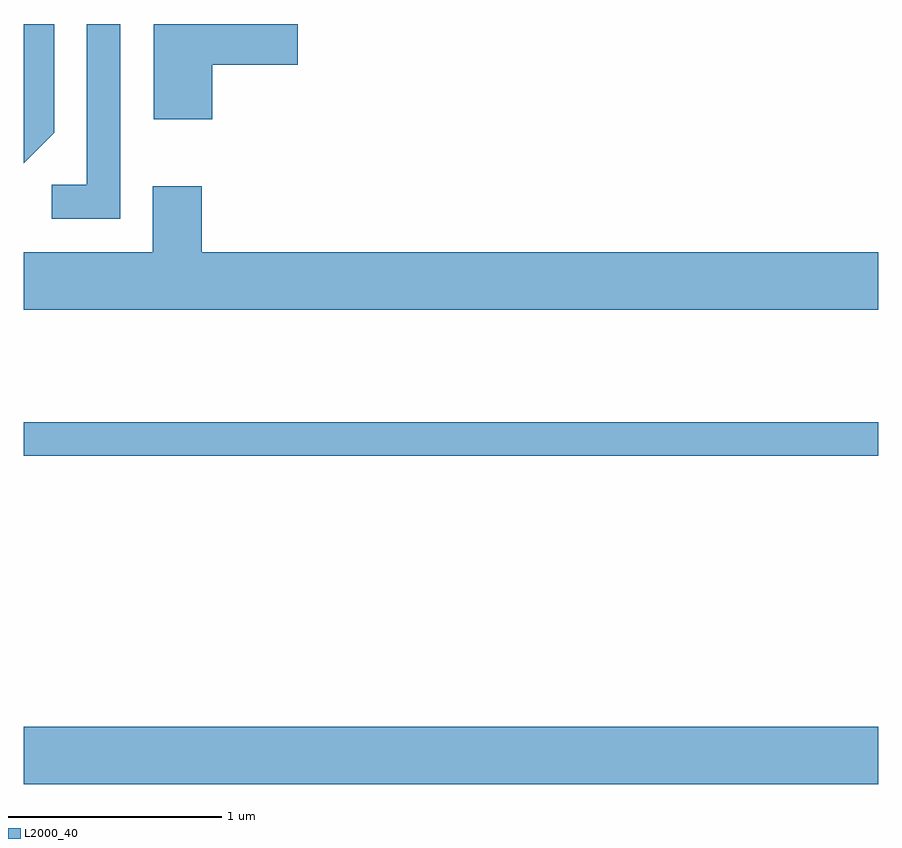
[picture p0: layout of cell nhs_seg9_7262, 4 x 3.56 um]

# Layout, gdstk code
import gdstk
lib = gdstk.Library(unit=1e-6, precision=1e-09)
def R(c, l, rs):  # rectangles x0, y0, x1, y1
    for r in rs: c.add(gdstk.rectangle(r[:2], r[2:], *l))
def P(c, l, *ps):  # polygons
    for p in ps: c.add(gdstk.Polygon(p, *l))
L2000_40 = (2000, 40)

nhs_seg9_7262 = lib.new_cell('nhs_seg9_7262')
R(nhs_seg9_7262, L2000_40, [(399.611,2042.876,403.611,2043.144), (399.611,2044.411,403.611,2044.569)])
P(nhs_seg9_7262, L2000_40, [(400.494,2046.241),(400.894,2046.241),(400.894,2046.432),(400.221,2046.432),(400.221,2045.986),(400.494,2045.986)],
  [(400.064,2046.432),(399.906,2046.432),(399.906,2045.679),(399.743,2045.679),(399.743,2045.521),(400.064,2045.521)],
  [(399.754,2045.924),(399.754,2046.432),(399.611,2046.432),(399.611,2045.781)],
  [(403.611,2045.364),(400.444,2045.364),(400.444,2045.674),(400.216,2045.674),(400.216,2045.364),(399.611,2045.364),(399.611,2045.096),(403.611,2045.096)])

lib.write_gds('nhs_seg9_7262.gds')
